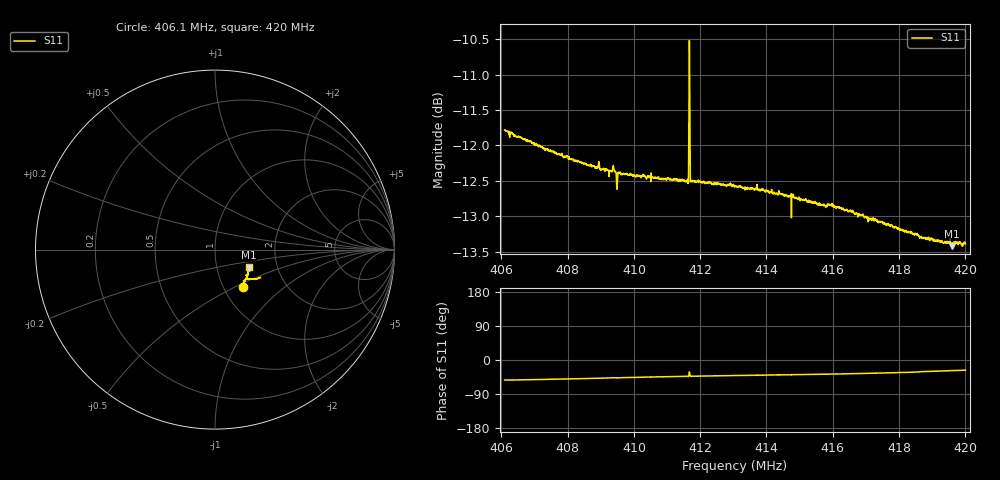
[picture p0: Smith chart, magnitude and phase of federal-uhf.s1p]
! Calibrated averaged scanner-service zoom
# Hz S RI R 50
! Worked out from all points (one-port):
!   2001 points, 406.1 MHz to 420 MHz, reference 50 ohm
!   lowest |S11| = -13.4 dB at 419.58 MHz (marker M1), VSWR 1.54, Z = 71.3 - j15 ohm
!   |S11| at or under -10 dB: start of sweep to end of sweep
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4.061e8  0.1548 -0.2057
4.078375e8  0.1576 -0.1899
4.090398e8  0.1623 -0.179
4.093804e8  0.1665 -0.1771
4.094846e8  0.159 -0.1725
4.095402e8  0.1641 -0.1751
4.09575e8  0.1649 -0.175
4.113125e8  0.1722 -0.1636
4.115766e8  0.1725 -0.1619
4.115905e8  0.1728 -0.1621
4.116114e8  0.1728 -0.1625
4.116252e8  0.1724 -0.1623
4.117226e8  0.1732 -0.1619
4.117364e8  0.1733 -0.1616
4.117573e8  0.1735 -0.1609
4.117642e8  0.1738 -0.161
4.117782e8  0.1739 -0.161
4.1305e8  0.1772 -0.1543
4.13877e8  0.1797 -0.1499
4.147875e8  0.1802 -0.1448
4.157605e8  0.1808 -0.1384
4.159551e8  0.1817 -0.1376
4.16525e8  0.1822 -0.1334
4.182625e8  0.1841 -0.1168
4.185405e8  0.1851 -0.1138
4.186864e8  0.1856 -0.1103
4.19583e8  0.1882 -0.1002
4.2e8  0.1908 -0.097
